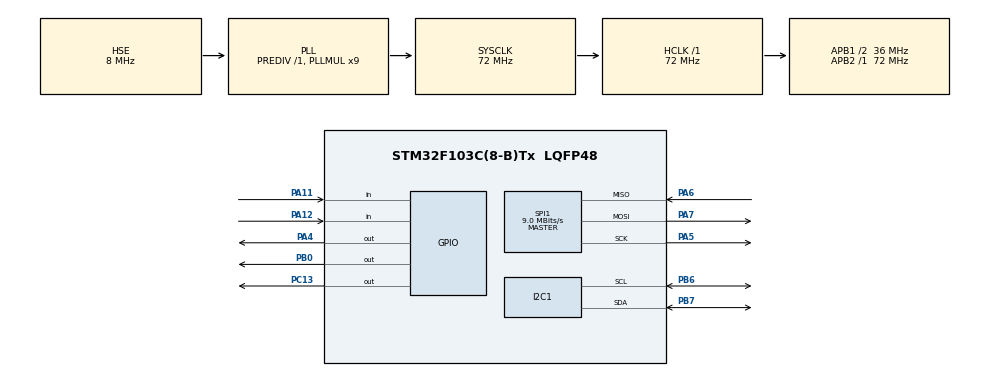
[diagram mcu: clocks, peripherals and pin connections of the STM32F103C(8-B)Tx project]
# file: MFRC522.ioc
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Mcu.Family=STM32F1
Mcu.Name=STM32F103C(8-B)Tx
Mcu.Package=LQFP48
NVIC.PriorityGroup=NVIC_PRIORITYGROUP_4
PA11.Signal=GPIO_Input
PA12.Signal=GPIO_Input
PA13.Mode=Serial_Wire
PA13.Signal=SYS_JTMS-SWDIO
PA14.Mode=Serial_Wire
PA14.Signal=SYS_JTCK-SWCLK
PA4.Signal=GPIO_Output
PA5.Mode=Full_Duplex_Master
PA5.Signal=SPI1_SCK
PA6.Mode=Full_Duplex_Master
PA6.Signal=SPI1_MISO
PA7.Mode=Full_Duplex_Master
PA7.Signal=SPI1_MOSI
PB0.Signal=GPIO_Output
PB6.Mode=I2C
PB6.Signal=I2C1_SCL
PB7.Mode=I2C
PB7.Signal=I2C1_SDA
PC13-TAMPER-RTC.PinState=GPIO_PIN_SET
PC13-TAMPER-RTC.Signal=GPIO_Output
PD0-OSC_IN.Mode=HSE-External-Oscillator
PD0-OSC_IN.Signal=RCC_OSC_IN
PD1-OSC_OUT.Mode=HSE-External-Oscillator
PD1-OSC_OUT.Signal=RCC_OSC_OUT
ProjectManager.HeapSize=0x200
ProjectManager.StackSize=0x400
ProjectManager.TargetToolchain=MDK-ARM V5.27
RCC.AHBFreq_Value=72000000
RCC.APB1CLKDivider=RCC_HCLK_DIV2
RCC.APB1Freq_Value=36000000
RCC.APB1TimFreq_Value=72000000
RCC.APB2Freq_Value=72000000
RCC.APB2TimFreq_Value=72000000
RCC.HCLKFreq_Value=72000000
RCC.PLLMUL=RCC_PLL_MUL9
RCC.PLLSourceVirtual=RCC_PLLSOURCE_HSE
RCC.SYSCLKFreq_VALUE=72000000
RCC.SYSCLKSource=RCC_SYSCLKSOURCE_PLLCLK
RCC.USBFreq_Value=72000000
SPI1.BaudRatePrescaler=SPI_BAUDRATEPRESCALER_8
SPI1.CalculateBaudRate=9.0 MBits/s
SPI1.Direction=SPI_DIRECTION_2LINES
SPI1.Mode=SPI_MODE_MASTER
SPI1.VirtualType=VM_MASTER
board=custom

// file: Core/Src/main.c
/* USER CODE BEGIN Header */
/**
  ******************************************************************************
  * @file           : main.c
  * @brief          : Main program body
  ******************************************************************************
  * @attention
  *
  * <h2><center>&copy; Copyright (c) 2020 STMicroelectronics.
  * All rights reserved.</center></h2>
  *
  * This software component is licensed by ST under BSD 3-Clause license,
  * the "License"; You may not use this file except in compliance with the
  * License. You may obtain a copy of the License at:
  *                        opensource.org/licenses/BSD-3-Clause
  *
  ******************************************************************************
  */
/* USER CODE END Header */
#include "main.h"

/* USER CODE BEGIN Includes */
#include "stdio.h"
#include "stm32f1_rc522.h"
#include "stdio.h"
#include "string.h"
#include "i2c_lcd.h"
/* USER CODE END Includes */

/* USER CODE BEGIN PM */
#define LCD_ADDR (0x27 << 1)

/* USER CODE END PM */

I2C_HandleTypeDef hi2c1;

SPI_HandleTypeDef hspi1;

/* USER CODE BEGIN PV */
//uint8_t i;
uint8_t status;
uint8_t str[MAX_LEN]; // Max_LEN = 16

uint8_t serNum[5];
//char password[16]="123456"; //Max lenght of password is 16 charaters
//char keypass[16];
//int cnt=0;
uint8_t key;
//uint8_t check,check2;

uint8_t Key_Card[4]  = {170, 49, 60, 41};
uint8_t Key_Card2[4] = {228, 85, 45, 40};

uint8_t  KEY[] = {0xFF,0xFF,0xFF,0xFF,0xFF,0xFF};
uint8_t  KEY2[]={1,2,3,4,5,6};       //{1,2,3,4,5,6};//"mohem";
//uint8_t  BLOCK_ADDRS[] =  {1}; //{1, 2, 3};

uint8_t test;
uint8_t W[]="zagros-elec";
uint8_t R[16];
/* USER CODE END PV */

void SystemClock_Config(void);
static void MX_GPIO_Init(void);
static void MX_SPI1_Init(void);
static void MX_I2C1_Init(void);
/* USER CODE BEGIN PFP */
I2C_LCD_HandleTypeDef lcd1;

void lcd_stm32_init(){
	 lcd1.hi2c = &hi2c1;     // hi2c1 is your I2C handler
   lcd1.address = LCD_ADDR;    // I2C address for the first LCD
   lcd_init(&lcd1);        // Initialize the first LCD
}
/* USER CODE END PFP */

int main(void)
{

  /* MCU Configuration--------------------------------------------------------*/

  /* Reset of all peripherals, Initializes the Flash interface and the Systick. */
  HAL_Init();

  /* Configure the system clock */
  SystemClock_Config();

  /* Initialize all configured peripherals */
  MX_GPIO_Init();
  MX_SPI1_Init();
  MX_I2C1_Init();
  /* USER CODE BEGIN 2 */
  MFRC522_Init();

	lcd_stm32_init();
	lcd_clear(&lcd1);
	lcd_gotoxy(&lcd1, 0, 0);
	lcd_puts(&lcd1, "Smart NFC");
	char szBuff[100];
  /* USER CODE END 2 */

  /* Infinite loop */
  /* USER CODE BEGIN WHILE */
  while (1)
  {

		status = MFRC522_Request(PICC_REQIDL, str);	//MFRC522_Request(0x26, str)
		status = MFRC522_Anticoll(str);//Take a collision, look up 5 bytes
		memcpy(serNum, str, 5);//function for c language:(para1:that place save data,para2:the the source of data,para3:size)

		if (status == MI_OK)
		{
			lcd_gotoxy(&lcd1, 0, 1);
			lcd_puts(&lcd1,"NFC Card Detected");
		}

    /* USER CODE END WHILE */

  }
}

void SystemClock_Config(void)
{
  RCC_OscInitTypeDef RCC_OscInitStruct = {0};
  RCC_ClkInitTypeDef RCC_ClkInitStruct = {0};

  /** Initializes the RCC Oscillators according to the specified parameters
  * in the RCC_OscInitTypeDef structure.
  */
  RCC_OscInitStruct.OscillatorType = RCC_OSCILLATORTYPE_HSE;
  RCC_OscInitStruct.HSEState = RCC_HSE_ON;
  RCC_OscInitStruct.HSEPredivValue = RCC_HSE_PREDIV_DIV1;
  RCC_OscInitStruct.HSIState = RCC_HSI_ON;
  RCC_OscInitStruct.PLL.PLLState = RCC_PLL_ON;
  RCC_OscInitStruct.PLL.PLLSource = RCC_PLLSOURCE_HSE;
  RCC_OscInitStruct.PLL.PLLMUL = RCC_PLL_MUL9;
  if (HAL_RCC_OscConfig(&RCC_OscInitStruct) != HAL_OK)
  {
    Error_Handler();
  }

  /** Initializes the CPU, AHB and APB buses clocks
  */
  RCC_ClkInitStruct.ClockType = RCC_CLOCKTYPE_HCLK|RCC_CLOCKTYPE_SYSCLK
                              |RCC_CLOCKTYPE_PCLK1|RCC_CLOCKTYPE_PCLK2;
  RCC_ClkInitStruct.SYSCLKSource = RCC_SYSCLKSOURCE_PLLCLK;
  RCC_ClkInitStruct.AHBCLKDivider = RCC_SYSCLK_DIV1;
  RCC_ClkInitStruct.APB1CLKDivider = RCC_HCLK_DIV2;
  RCC_ClkInitStruct.APB2CLKDivider = RCC_HCLK_DIV1;

  if (HAL_RCC_ClockConfig(&RCC_ClkInitStruct, FLASH_LATENCY_2) != HAL_OK)
  {
    Error_Handler();
  }
}

static void MX_I2C1_Init(void)
{

  hi2c1.Instance = I2C1;
  hi2c1.Init.ClockSpeed = 100000;
  hi2c1.Init.DutyCycle = I2C_DUTYCYCLE_2;
  hi2c1.Init.OwnAddress1 = 0;
  hi2c1.Init.AddressingMode = I2C_ADDRESSINGMODE_7BIT;
  hi2c1.Init.DualAddressMode = I2C_DUALADDRESS_DISABLE;
  hi2c1.Init.OwnAddress2 = 0;
  hi2c1.Init.GeneralCallMode = I2C_GENERALCALL_DISABLE;
  hi2c1.Init.NoStretchMode = I2C_NOSTRETCH_DISABLE;
  if (HAL_I2C_Init(&hi2c1) != HAL_OK)
  {
    Error_Handler();
  }

}

static void MX_SPI1_Init(void)
{

  /* SPI1 parameter configuration*/
  hspi1.Instance = SPI1;
  hspi1.Init.Mode = SPI_MODE_MASTER;
  hspi1.Init.Direction = SPI_DIRECTION_2LINES;
  hspi1.Init.DataSize = SPI_DATASIZE_8BIT;
  hspi1.Init.CLKPolarity = SPI_POLARITY_LOW;
  hspi1.Init.CLKPhase = SPI_PHASE_1EDGE;
  hspi1.Init.NSS = SPI_NSS_SOFT;
  hspi1.Init.BaudRatePrescaler = SPI_BAUDRATEPRESCALER_8;
  hspi1.Init.FirstBit = SPI_FIRSTBIT_MSB;
  hspi1.Init.TIMode = SPI_TIMODE_DISABLE;
  hspi1.Init.CRCCalculation = SPI_CRCCALCULATION_DISABLE;
  hspi1.Init.CRCPolynomial = 10;
  if (HAL_SPI_Init(&hspi1) != HAL_OK)
  {
    Error_Handler();
  }

}

static void MX_GPIO_Init(void)
{
  GPIO_InitTypeDef GPIO_InitStruct = {0};

  /* GPIO Ports Clock Enable */
  __HAL_RCC_GPIOC_CLK_ENABLE();
  __HAL_RCC_GPIOD_CLK_ENABLE();
  __HAL_RCC_GPIOA_CLK_ENABLE();
  __HAL_RCC_GPIOB_CLK_ENABLE();

  /*Configure GPIO pin Output Level */
  HAL_GPIO_WritePin(GPIOC, GPIO_PIN_13, GPIO_PIN_SET);

  /*Configure GPIO pin Output Level */
  HAL_GPIO_WritePin(GPIOA, GPIO_PIN_4, GPIO_PIN_RESET);

  /*Configure GPIO pin Output Level */
  HAL_GPIO_WritePin(GPIOB, GPIO_PIN_0, GPIO_PIN_RESET);

  /*Configure GPIO pin : PC13 */
  GPIO_InitStruct.Pin = GPIO_PIN_13;
  GPIO_InitStruct.Mode = GPIO_MODE_OUTPUT_PP;
  GPIO_InitStruct.Pull = GPIO_NOPULL;
  GPIO_InitStruct.Speed = GPIO_SPEED_FREQ_LOW;
  HAL_GPIO_Init(GPIOC, &GPIO_InitStruct);

  /*Configure GPIO pin : PA4 */
  GPIO_InitStruct.Pin = GPIO_PIN_4;
  GPIO_InitStruct.Mode = GPIO_MODE_OUTPUT_PP;
  GPIO_InitStruct.Pull = GPIO_NOPULL;
  GPIO_InitStruct.Speed = GPIO_SPEED_FREQ_LOW;
  HAL_GPIO_Init(GPIOA, &GPIO_InitStruct);

  /*Configure GPIO pin : PB0 */
  GPIO_InitStruct.Pin = GPIO_PIN_0;
  GPIO_InitStruct.Mode = GPIO_MODE_OUTPUT_PP;
  GPIO_InitStruct.Pull = GPIO_NOPULL;
  GPIO_InitStruct.Speed = GPIO_SPEED_FREQ_LOW;
  HAL_GPIO_Init(GPIOB, &GPIO_InitStruct);

  /*Configure GPIO pins : PA11 PA12 */
  GPIO_InitStruct.Pin = GPIO_PIN_11|GPIO_PIN_12;
  GPIO_InitStruct.Mode = GPIO_MODE_INPUT;
  GPIO_InitStruct.Pull = GPIO_NOPULL;
  HAL_GPIO_Init(GPIOA, &GPIO_InitStruct);

}

void Error_Handler(void)
{
}
